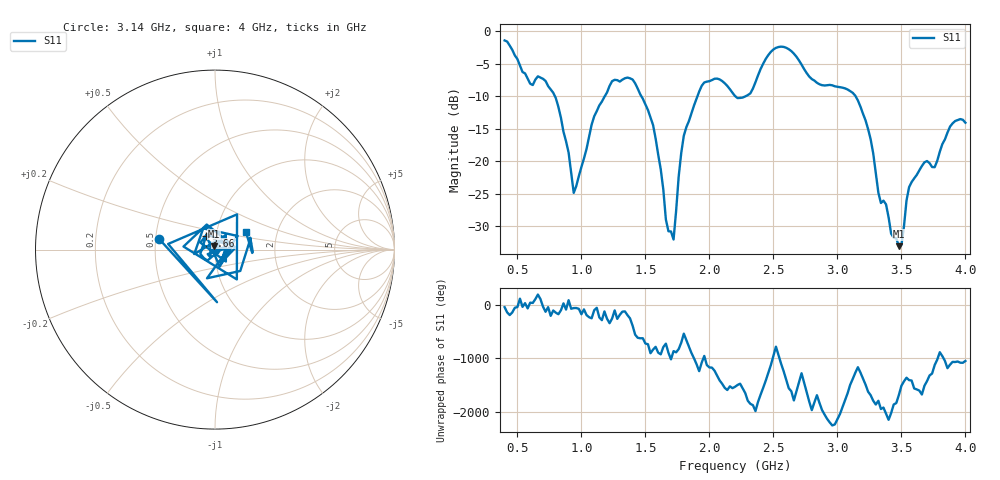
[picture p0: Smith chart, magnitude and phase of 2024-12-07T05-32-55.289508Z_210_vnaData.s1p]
!Created with skrf (http://scikit-rf.org).
# Hz S RI R 50.0
!freq ReS11 ImS11
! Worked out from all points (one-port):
!   181 points, 400 MHz to 4 GHz, reference 50 ohm
!   lowest |S11| = -33.1 dB at 3.48 GHz (marker M1), VSWR 1.05, Z = 49.2 + j2.04 ohm
!   |S11| at or under -10 dB: 792.8 MHz to 1.183 GHz (390 MHz wide, 39.5 % of centre); 1.468 GHz to 1.907 GHz (438.5 MHz wide, 26 % of centre); 3.142 GHz to end of sweep (the widest 3 of 4)
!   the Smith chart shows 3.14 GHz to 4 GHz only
!   S11 on the Smith chart (normalised r, x): 3.14 GHz: 0.52, +0.07; 3.66 GHz: 0.90, +0.14; 4 GHz: 1.39, +0.28
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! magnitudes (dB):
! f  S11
! 400 MHz  -1.4
! 600 MHz  -8.1
! 780 MHz  -9.5
! 860 MHz  -15.5
! 940 MHz  -24.9
! 1.1 GHz  -13.1
! 1.3 GHz  -7.8
! 1.4 GHz  -7.4
! 1.56 GHz  -14.4
! 1.66 GHz  -29.0
! 1.72 GHz  -32.1
! 1.76 GHz  -22.4
! 1.8 GHz  -16.1
! 1.94 GHz  -8.4
! 2.2 GHz  -10.0
! 2.32 GHz  -9.6
! 2.5 GHz  -2.8
! 2.66 GHz  -3.5
! 3.1 GHz  -9.2
! 3.14 GHz  -9.9
! 3.26 GHz  -16.7
! 3.34 GHz  -26.4
! 3.48 GHz  -33.1
! 3.56 GHz  -24.0
! 3.66 GHz  -20.7
! 3.76 GHz  -20.9
! 3.88 GHz  -14.7
! 4 GHz  -14.1
